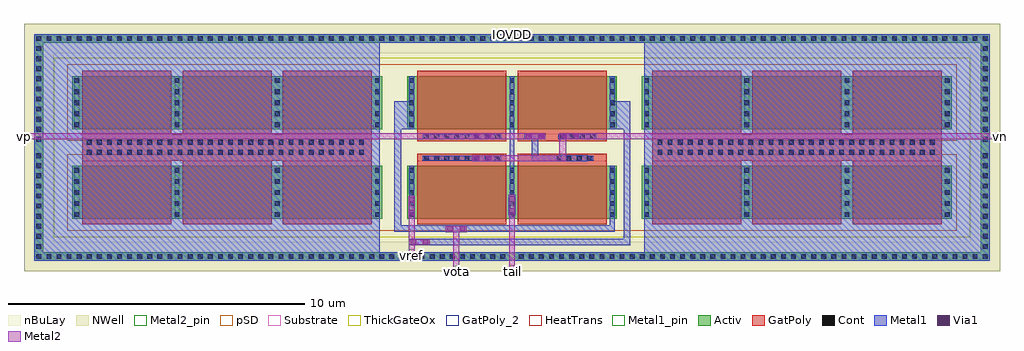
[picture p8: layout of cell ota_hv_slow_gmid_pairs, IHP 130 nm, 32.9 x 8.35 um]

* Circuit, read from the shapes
.subckt ota_hv_slow_gmid_pairs IOVDD tail vn vota vp vref
XM1 IOVDD IOVDD IOVDD IOVDD sg13_hv_pmos w=1.785u l=3u m=12
XM2 tail vn vref IOVDD sg13_hv_pmos w=1.785u l=3u m=2
XM3 tail vp vota IOVDD sg13_hv_pmos w=1.785u l=3u m=2
.ends

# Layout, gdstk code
import gdstk
lib = gdstk.Library(unit=1e-6, precision=1e-09)
def R(c, l, rs):  # rectangles x0, y0, x1, y1
    for r in rs: c.add(gdstk.rectangle(r[:2], r[2:], *l))
def A(c, l, x, y, w, h, nx, ny, dx, dy):  # array of equal rectangles
    R(c, l, [(x+i*dx, y+j*dy, x+i*dx+w, y+j*dy+h) for i in range(nx) for j in range(ny)])
def P(c, l, *ps):  # polygons
    for p in ps: c.add(gdstk.Polygon(p, *l))
Activ = (1, 0)
GatPoly = (5, 0)
GatPoly_2 = (5, 2)
Cont = (6, 0)
Metal1 = (8, 0)
Metal1_pin = (8, 2)
Metal2 = (10, 0)
Metal2_pin = (10, 2)
pSD = (14, 0)
Via1 = (19, 0)
NWell = (31, 0)
nBuLay = (32, 0)
Substrate = (40, 0)
ThickGateOx = (44, 0)
HeatTrans = (51, 0)

pmoshv_1 = lib.new_cell('pmosHV$1')
A(pmoshv_1, Activ, 0, 0, 0.3, 0.3, 3, 1, 3.38, 0)
R(pmoshv_1, Activ, [(0,0,7.06,1.785)])
R(pmoshv_1, GatPoly, [(0.34,-0.18,3.34,1.965), (3.72,-0.18,6.72,1.965)])
R(pmoshv_1, GatPoly_2, [(0.34,-0.18,3.34,1.965)])
A(pmoshv_1, Cont, 0.07, 0.07, 0.16, 0.16, 3, 4, 3.38, 0.37)
A(pmoshv_1, Cont, 0.07, 1.555, 0.16, 0.16, 3, 1, 3.38, 0)
A(pmoshv_1, Metal1, 0.07, 0, 0.16, 1.785, 3, 1, 3.38, 0)
R(pmoshv_1, Metal1_pin, [(0.07,0,0.23,1.785), (3.45,0,3.61,1.785)])
R(pmoshv_1, pSD, [(-0.18,-0.4,7.24,2.185)])
R(pmoshv_1, NWell, [(-0.62,-0.62,7.68,2.405)])
R(pmoshv_1, Substrate, [(6.76,0,7.06,0.3)])
R(pmoshv_1, ThickGateOx, [(-0.62,-0.62,7.68,2.405)])
R(pmoshv_1, HeatTrans, [(0.34,-0.18,3.34,1.965), (3.72,-0.18,6.72,1.965)])
pmoshv_1.add(gdstk.Label('pmosHV', (1.84,0.893), layer=63, texttype=0))
pmoshv_1.add(gdstk.Label('pmos', (1.84,0.893), layer=51, texttype=0))
pmoshv_1.add(gdstk.Label('pmos', (5.22,0.893), layer=51, texttype=0))

via_stack = lib.new_cell('via_stack')
R(via_stack, GatPoly, [(-1.34,-0.15,1.34,0.15)])
A(via_stack, Cont, -1.27, -0.08, 0.16, 0.16, 8, 1, 0.34, 0)
R(via_stack, Metal1, [(-1.32,-0.08,1.32,0.08)])

via_stack_2 = lib.new_cell('via_stack$2')
R(via_stack_2, GatPoly, [(-0.66,-0.15,0.66,0.15)])
A(via_stack_2, Cont, -0.59, -0.08, 0.16, 0.16, 4, 1, 0.34, 0)
R(via_stack_2, Metal1, [(-0.64,-0.08,0.64,0.08)])

via_stack_3 = lib.new_cell('via_stack$3')
R(via_stack_3, Metal1, [(-0.35,-0.105,0.35,0.105)])
R(via_stack_3, Metal2, [(-0.35,-0.1,0.35,0.1)])
R(via_stack_3, Via1, [(-0.3,-0.095,-0.11,0.095), (0.11,-0.095,0.3,0.095)])

guard_ring_7 = lib.new_cell('guard_ring$7')
R(guard_ring_7, Activ, [(-16.1,-3.525,-15.8,3.525), (15.8,-3.525,16.1,3.525), (-16.1,3.525,16.1,3.825)])
P(guard_ring_7, Activ, [(-16.1,-3.825),(-16.1,3.525),(-15.8,3.525),(-15.8,-3.525),(15.8,-3.525),(15.8,3.525),(-16.1,3.525),(-16.1,3.825),(16.1,3.825),(16.1,-3.825)])
A(guard_ring_7, Cont, -16.03, -3.755, 0.16, 0.16, 47, 2, 0.34, 7.35)
A(guard_ring_7, Cont, 0.23, -3.755, 0.16, 0.16, 47, 2, 0.34, 7.35)
A(guard_ring_7, Cont, -16.03, -3.415, 0.16, 0.16, 1, 10, 0, 0.34)
A(guard_ring_7, Cont, 15.87, -3.415, 0.16, 0.16, 1, 10, 0, 0.34)
A(guard_ring_7, Cont, -16.03, 0.195, 0.16, 0.16, 1, 10, 0, 0.34)
A(guard_ring_7, Cont, 15.87, 0.195, 0.16, 0.16, 1, 10, 0, 0.34)
R(guard_ring_7, Metal1, [(-16.1,-3.825,16.1,-3.525), (-16.1,-3.525,-15.8,3.525), (15.8,-3.525,16.1,3.525), (-16.1,3.525,16.1,3.825)])
R(guard_ring_7, NWell, [(-16.45,-4.175,16.45,4.175)])
R(guard_ring_7, nBuLay, [(-16.45,-3.175,-15.45,3.175), (15.45,-3.175,16.45,3.175), (-16.45,3.175,16.45,4.175)])
P(guard_ring_7, nBuLay, [(-16.45,-4.175),(-16.45,3.175),(-15.45,3.175),(-15.45,-3.175),(15.45,-3.175),(15.45,3.175),(-16.45,3.175),(-16.45,4.175),(16.45,4.175),(16.45,-4.175)])
guard_ring_7.add(gdstk.Label('well', (0,-3.675), layer=63, texttype=0))

via_stack_24 = lib.new_cell('via_stack$24')
R(via_stack_24, GatPoly, [(-4.74,-0.32,4.74,0.32)])
A(via_stack_24, Cont, -4.67, -0.25, 0.16, 0.16, 28, 2, 0.34, 0.34)
R(via_stack_24, Metal1, [(-4.72,-0.25,4.72,0.25)])

via_stack_4 = lib.new_cell('via_stack$4')
R(via_stack_4, Metal1, [(-0.105,-0.35,0.105,0.35)])
R(via_stack_4, Metal2, [(-0.1,-0.35,0.1,0.35)])
R(via_stack_4, Via1, [(-0.095,-0.3,0.095,-0.11), (-0.095,0.11,0.095,0.3)])

pmoshv = lib.new_cell('pmosHV')
A(pmoshv, Activ, 0, 0, 0.3, 0.3, 4, 1, 3.38, 0)
R(pmoshv, Activ, [(0,0,10.44,1.785)])
A(pmoshv, GatPoly, 0.34, -0.18, 3, 2.145, 3, 1, 3.38, 0)
R(pmoshv, GatPoly_2, [(0.34,-0.18,3.34,1.965)])
A(pmoshv, Cont, 0.07, 0.07, 0.16, 0.16, 4, 4, 3.38, 0.37)
A(pmoshv, Cont, 0.07, 1.555, 0.16, 0.16, 4, 1, 3.38, 0)
A(pmoshv, Metal1, 0.07, 0, 0.16, 1.785, 4, 1, 3.38, 0)
R(pmoshv, Metal1_pin, [(0.07,0,0.23,1.785), (3.45,0,3.61,1.785)])
R(pmoshv, pSD, [(-0.18,-0.4,10.62,2.185)])
R(pmoshv, NWell, [(-0.62,-0.62,11.06,2.405)])
R(pmoshv, Substrate, [(10.14,0,10.44,0.3)])
R(pmoshv, ThickGateOx, [(-0.62,-0.62,11.06,2.405)])
A(pmoshv, HeatTrans, 0.34, -0.18, 3, 2.145, 3, 1, 3.38, 0)
pmoshv.add(gdstk.Label('pmosHV', (1.84,0.893), layer=63, texttype=0))
pmoshv.add(gdstk.Label('pmos', (1.84,0.893), layer=51, texttype=0))
pmoshv.add(gdstk.Label('pmos', (5.22,0.893), layer=51, texttype=0))
pmoshv.add(gdstk.Label('pmos', (8.6,0.893), layer=51, texttype=0))

ota_hv_slow_gmid_pairs = lib.new_cell('ota_hv_slow_gmid_pairs')
R(ota_hv_slow_gmid_pairs, GatPoly, [(-14.48,-0.44,-4.72,0.44), (-3.19,-0.44,-0.19,-0.21), (0.19,-0.44,3.19,-0.21), (4.72,-0.44,14.48,0.44), (-3.19,0.21,-0.19,0.44), (0.19,0.21,3.19,0.44)])
R(ota_hv_slow_gmid_pairs, Metal1, [(-16.1,-3.825,-4.45,3.825), (4.45,-3.825,16.1,3.825), (-3.46,-3.295,3.99,-3.075), (3.76,-3.295,3.99,1.56), (-3.975,-2.845,3.46,-2.625), (-3.97,-2.845,-3.74,1.56), (3.3,-2.845,3.46,-2.15), (-0.08,-1.71,0.08,1.575), (0.66,-0.465,0.88,0.305), (0.66,-0.465,2.555,-0.265), (-3.97,0.62,-3.3,1.56), (3.3,0.62,3.99,1.56)])
R(ota_hv_slow_gmid_pairs, Metal1_pin, [(-9.31,3.525,9.31,3.825)])
R(ota_hv_slow_gmid_pairs, Metal2, [(-1.975,-4.175,-1.775,-2.64), (-0.1,-4.175,0.1,-2.185), (-3.48,-3.64,-3.28,-1.635), (-0.945,-0.465,1.835,-0.265), (1.595,-0.465,1.835,0.475), (-16.45,0.275,-0.675,0.475), (-0.875,0.275,1.07,0.475), (2.175,0.275,16.45,0.475)])
R(ota_hv_slow_gmid_pairs, Metal2_pin, [(-1.975,-4.175,-1.775,-3.98), (-0.1,-4.175,0.1,-3.97), (-3.48,-3.64,-3.28,-3.435), (-16.45,0.275,-16.245,0.475), (16.21,0.275,16.45,0.475)])
R(ota_hv_slow_gmid_pairs, pSD, [(-8.055,-2.805,8.085,2.805)])
r = gdstk.Reference(pmoshv_1, (-3.53,-2.405)); r.repetition = gdstk.Repetition(1, 2, v1=(0,0), v2=(0,3.025)); ota_hv_slow_gmid_pairs.add(r)
ota_hv_slow_gmid_pairs.add(gdstk.Reference(via_stack, (-1.69,0.36)))
ota_hv_slow_gmid_pairs.add(gdstk.Reference(via_stack_2, (2.2,0.36)))
ota_hv_slow_gmid_pairs.add(gdstk.Reference(via_stack_2, (2.095,-0.36), x_reflection=True))
ota_hv_slow_gmid_pairs.add(gdstk.Reference(via_stack, (-1.69,-0.36), x_reflection=True))
ota_hv_slow_gmid_pairs.add(gdstk.Reference(via_stack_3, (-0.995,-0.365)))
ota_hv_slow_gmid_pairs.add(gdstk.Reference(via_stack_3, (-0.995,0.375)))
ota_hv_slow_gmid_pairs.add(gdstk.Reference(via_stack_3, (1.955,0.375)))
ota_hv_slow_gmid_pairs.add(gdstk.Reference(via_stack_3, (0.77,0.375)))
ota_hv_slow_gmid_pairs.add(gdstk.Reference(guard_ring_7, (0,0)))
ota_hv_slow_gmid_pairs.add(gdstk.Reference(via_stack_24, (9.58,0.01)))
ota_hv_slow_gmid_pairs.add(gdstk.Reference(via_stack_24, (-9.66,0.01)))
ota_hv_slow_gmid_pairs.add(gdstk.Reference(via_stack_3, (-3.125,-3.185)))
ota_hv_slow_gmid_pairs.add(gdstk.Reference(via_stack_4, (-3.38,-1.98)))
ota_hv_slow_gmid_pairs.add(gdstk.Reference(via_stack_3, (-1.875,-2.745)))
ota_hv_slow_gmid_pairs.add(gdstk.Reference(via_stack_4, (0,-1.945), x_reflection=True))
r = gdstk.Reference(pmoshv, (-14.82,-2.405)); r.repetition = gdstk.Repetition(2, 2, v1=(19.2,0), v2=(0,3.025)); ota_hv_slow_gmid_pairs.add(r)
ota_hv_slow_gmid_pairs.add(gdstk.Label('IOVDD', (0,3.825), layer=8, texttype=2))
ota_hv_slow_gmid_pairs.add(gdstk.Label('vn', (16.45,0.375), layer=10, texttype=2))
ota_hv_slow_gmid_pairs.add(gdstk.Label('vp', (-16.45,0.375), layer=10, texttype=2))
ota_hv_slow_gmid_pairs.add(gdstk.Label('tail', (0,-4.175), layer=10, texttype=2))
ota_hv_slow_gmid_pairs.add(gdstk.Label('vref', (-3.38,-3.64), layer=10, texttype=2))
ota_hv_slow_gmid_pairs.add(gdstk.Label('vota', (-1.875,-4.175), layer=10, texttype=2))

lib.write_gds('ota_hv_slow_gmid_pairs.gds')
